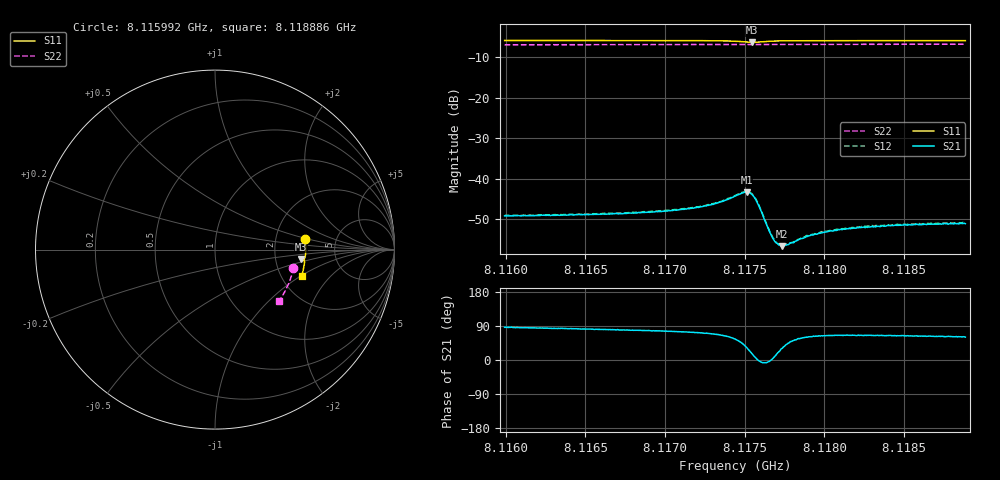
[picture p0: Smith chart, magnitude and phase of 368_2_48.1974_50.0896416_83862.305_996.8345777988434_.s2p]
#  HZ  S  RI  R  50.00
! Rohde & Schwarz Vector Network Analyzer
! Rohde-Schwarz,ZNB20-2Port,1311601062101988,3.16
! Created: UTC 3/20/2024, 11:52:35 AM
! freq[Hz]  re:S11  im:S11  re:S21  im:S21  re:S12  im:S12  re:S22  im:S22
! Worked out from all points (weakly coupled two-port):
!   401 points, 8.115992 GHz to 8.118886 GHz, reference 50 ohm
!   highest |S21| = -43.26 dB at 8.117512 GHz (marker M1); lowest = -56.6 dB at 8.117736 GHz (marker M2)
!   lowest |S11| = -6.4 dB at 8.117548 GHz (marker M3), VSWR 2.85, Z = 140 - j18.9 ohm
!   |S11| at or under -10 dB: nowhere
!   |S22| runs from -7.0 to -6.8 dB; largest |S21 - S12| = 0.00019
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8.1159925e9  0.5039 0.0587  0.000223 0.00349  0.000297 0.00351  0.4372 -0.1007
8.1164772e9  0.5062 0.0223  0.000529 0.00357  0.000583 0.00367  0.4296 -0.1334
8.1169619e9  0.5056 -0.015  0.000925 0.00386  0.000995 0.0039  0.4197 -0.1657
8.117244e9  0.5027 -0.0383  0.00153 0.00435  0.00156 0.00439  0.4127 -0.1842
8.1173453e9  0.4998 -0.048  0.0021 0.00473  0.00218 0.00476  0.4099 -0.1908
8.1174394e9  0.4932 -0.0573  0.00348 0.00503  0.0036 0.0051  0.4071 -0.1969
8.1175117e9  0.4816 -0.0585  0.00574 0.00378  0.00586 0.0038  0.4046 -0.2011
8.1175479e9  0.478 -0.0521  0.00615 0.00172  0.00627 0.00172  0.4035 -0.2031
8.1175624e9  0.479 -0.049  0.00579 0.000888  0.00589 0.000862  0.4032 -0.2037
8.1175841e9  0.4822 -0.0459  0.00492 -3.2e-05  0.00498 -6.22e-05  0.4026 -0.2048
8.1176492e9  0.493 -0.048  0.00241 -0.00019  0.00245 -0.000237  0.4013 -0.2091
8.1176853e9  0.4961 -0.0522  0.00174 0.000241  0.00179 0.000223  0.4004 -0.2115
8.117707e9  0.4972 -0.0547  0.00151 0.000508  0.00151 0.000507  0.3998 -0.2129
8.117736e9  0.4981 -0.0581  0.00127 0.00076  0.00134 0.000769  0.3988 -0.2148
8.1177866e9  0.4988 -0.0635  0.00108 0.00121  0.00111 0.00119  0.3973 -0.218
8.1178807e9  0.4988 -0.0724  0.000961 0.00164  0.00098 0.00169  0.3945 -0.224
8.1179241e9  0.4985 -0.0763  0.000966 0.00179  0.00101 0.00182  0.3931 -0.2267
8.1179892e9  0.4978 -0.0818  0.000962 0.00195  0.001 0.00197  0.3909 -0.2309
8.1181411e9  0.4959 -0.094  0.00101 0.00222  0.00103 0.00223  0.3857 -0.2402
8.1182858e9  0.4937 -0.1051  0.00106 0.00232  0.00115 0.00239  0.3807 -0.249
8.1184088e9  0.4916 -0.1143  0.00114 0.0024  0.00117 0.00241  0.3762 -0.2563
8.1188863e9  0.482 -0.1489  0.00139 0.00244  0.00144 0.00251  0.3574 -0.2842
